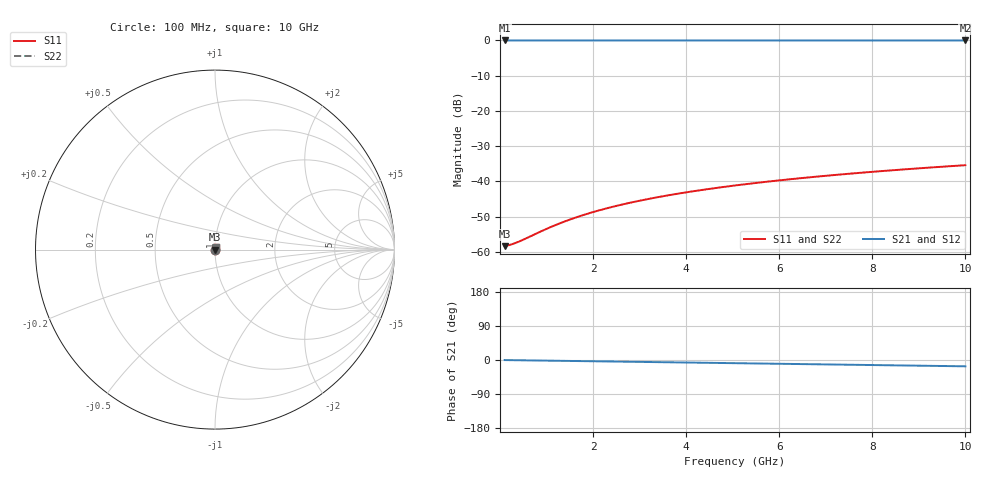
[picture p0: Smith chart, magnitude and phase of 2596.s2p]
# Hz S RI R 50.00
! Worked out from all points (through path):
!   100 points, 100 MHz to 10 GHz, reference 50 ohm
!   highest |S21| = -0.01 dB at 100 MHz (marker M1); lowest = 0.0 dB at 10 GHz (marker M2)
!   group delay of S21, straight-line fit = 4.63 ps
!   lowest |S11| = -58.4 dB at 100 MHz (marker M3), VSWR 1.00, Z = 50.1 + j0.017 ohm
!   |S11| at or under -10 dB: start of sweep to end of sweep
!   |S22| runs from -58.4 to -35.4 dB; largest |S21 - S12| = 0
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1e8  0.00119 0.000169  0.9988 -0.00289  0.9988 -0.00289  0.00119 0.000169
2e8  0.0012 0.000338  0.9988 -0.00578  0.9988 -0.00578  0.0012 0.000338
3e8  0.0012 0.000507  0.9988 -0.00868  0.9988 -0.00868  0.0012 0.000507
4e8  0.00121 0.000676  0.9987 -0.0116  0.9987 -0.0116  0.00121 0.000676
9e8  0.00125 0.00152  0.9984 -0.026  0.9984 -0.026  0.00125 0.00152
1.2e9  0.00129 0.00203  0.9981 -0.0347  0.9981 -0.0347  0.00129 0.00203
1.5e9  0.00133 0.00253  0.9978 -0.0434  0.9978 -0.0434  0.00133 0.00253
1.8e9  0.00138 0.00303  0.9974 -0.052  0.9974 -0.052  0.00138 0.00303
2.1e9  0.00144 0.00353  0.9969 -0.0607  0.9969 -0.0607  0.00144 0.00353
2.5e9  0.00153 0.0042  0.9961 -0.0723  0.9961 -0.0723  0.00153 0.0042
2.9e9  0.00164 0.00486  0.9952 -0.0838  0.9952 -0.0838  0.00164 0.00486
3.4e9  0.00179 0.00569  0.9938 -0.0982  0.9938 -0.0982  0.00179 0.00569
3.8e9  0.00193 0.00634  0.9926 -0.1098  0.9926 -0.1098  0.00193 0.00634
4.2e9  0.00209 0.00699  0.9912 -0.1213  0.9912 -0.1213  0.00209 0.00699
4.6e9  0.00226 0.00764  0.9897 -0.1328  0.9897 -0.1328  0.00226 0.00764
5.1e9  0.0025 0.00844  0.9877 -0.1472  0.9877 -0.1472  0.0025 0.00844
5.9e9  0.00292 0.00971  0.984 -0.1701  0.984 -0.1701  0.00292 0.00971
6.7e9  0.00341 0.0109  0.9797 -0.193  0.9797 -0.193  0.00341 0.0109
7.5e9  0.00395 0.0122  0.9749 -0.2158  0.9749 -0.2158  0.00395 0.0122
8.4e9  0.00463 0.0135  0.9688 -0.2413  0.9688 -0.2413  0.00463 0.0135
9.2e9  0.00529 0.0147  0.9629 -0.2639  0.9629 -0.2639  0.00529 0.0147
1e10  0.00601 0.0158  0.9564 -0.2864  0.9564 -0.2864  0.00601 0.0158
